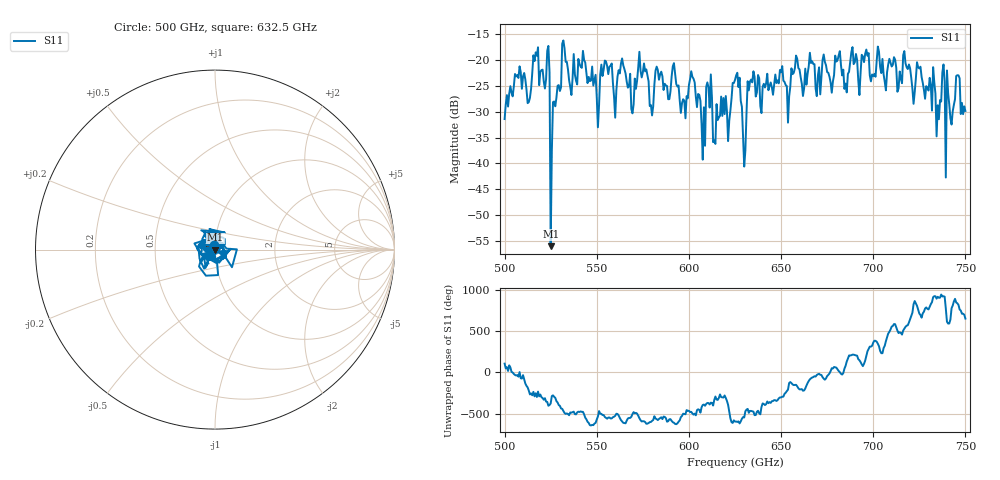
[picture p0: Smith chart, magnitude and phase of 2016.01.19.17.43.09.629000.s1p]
!Created with skrf (http://scikit-rf.org).
# GHz S RI R 50.0
!freq ReS11 ImS11
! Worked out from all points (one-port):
!   401 points, 500 GHz to 750 GHz, reference 50 ohm
!   lowest |S11| = -56.0 dB at 525 GHz (marker M1), VSWR 1.00, Z = 50.2 - j0.0478 ohm
!   |S11| at or under -10 dB: start of sweep to end of sweep
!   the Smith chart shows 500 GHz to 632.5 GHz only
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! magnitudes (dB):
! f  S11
! 500 GHz  -31.4
! 506.9 GHz  -22.9
! 513.1 GHz  -28.2
! 516.9 GHz  -18.6
! 523.1 GHz  -18.3
! 525 GHz  -56.0
! 526.2 GHz  -28.2
! 531.2 GHz  -16.9
! 550 GHz  -27.3
! 562.5 GHz  -22.6
! 570 GHz  -28.6
! 574.4 GHz  -23.4
! 580 GHz  -30.7
! 583.1 GHz  -22.0
! 593.8 GHz  -25.2
! 596.9 GHz  -27.6
! 601.9 GHz  -23.3
! 607.5 GHz  -39.3
! 610.6 GHz  -25.3
! 614.4 GHz  -36.2
! 625 GHz  -23.9
! 630 GHz  -40.6
! 634.4 GHz  -24.3
! 656.2 GHz  -22.8
! 687.5 GHz  -20.4
! 718.8 GHz  -21.8
! 745.6 GHz  -23.0
! 750 GHz  -29.9
